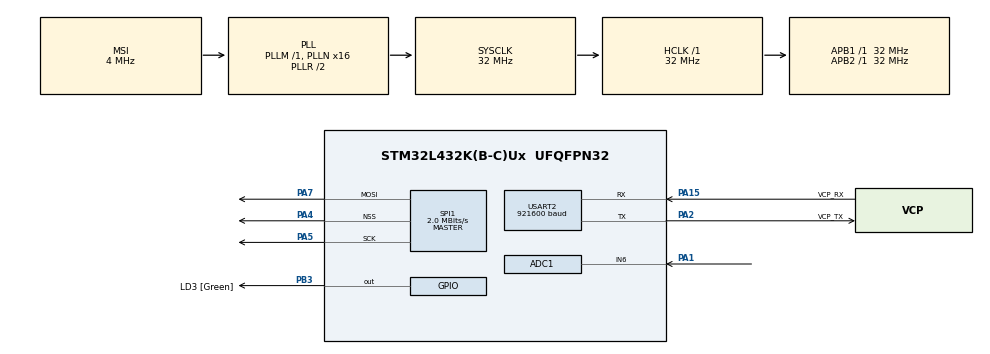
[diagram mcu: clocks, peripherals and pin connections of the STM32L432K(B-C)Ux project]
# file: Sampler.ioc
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ADC1.Channel-0\#ChannelRegularConversion=ADC_CHANNEL_6
ADC1.ClockPrescaler=ADC_CLOCK_ASYNC_DIV8
ADC1.DMAContinuousRequests=ENABLE
ADC1.ExternalTrigConv=ADC_EXTERNALTRIG_T1_TRGO
ADC1.NbrOfConversionFlag=1
ADC1.master=1
Dma.ADC1.1.Direction=DMA_PERIPH_TO_MEMORY
Dma.ADC1.1.Instance=DMA1_Channel1
Dma.ADC1.1.MemDataAlignment=DMA_MDATAALIGN_HALFWORD
Dma.ADC1.1.MemInc=DMA_MINC_ENABLE
Dma.ADC1.1.Mode=DMA_CIRCULAR
Dma.ADC1.1.PeriphDataAlignment=DMA_PDATAALIGN_HALFWORD
Dma.ADC1.1.PeriphInc=DMA_PINC_DISABLE
Dma.ADC1.1.Priority=DMA_PRIORITY_LOW
Dma.Request0=SPI1_TX
Dma.Request1=ADC1
Dma.SPI1_TX.0.Direction=DMA_MEMORY_TO_PERIPH
Dma.SPI1_TX.0.Instance=DMA2_Channel4
Dma.SPI1_TX.0.MemDataAlignment=DMA_MDATAALIGN_HALFWORD
Dma.SPI1_TX.0.MemInc=DMA_MINC_ENABLE
Dma.SPI1_TX.0.Mode=DMA_CIRCULAR
Dma.SPI1_TX.0.PeriphDataAlignment=DMA_PDATAALIGN_HALFWORD
Dma.SPI1_TX.0.PeriphInc=DMA_PINC_DISABLE
Dma.SPI1_TX.0.Priority=DMA_PRIORITY_LOW
Mcu.Family=STM32L4
Mcu.Name=STM32L432K(B-C)Ux
Mcu.Package=UFQFPN32
NVIC.ADC1_IRQn=true\:0\:0\:false\:false\:true\:true\:true\:true
NVIC.DMA1_Channel1_IRQn=true\:0\:0\:false\:false\:true\:false\:true\:true
NVIC.DMA2_Channel4_IRQn=true\:0\:0\:false\:false\:true\:false\:true\:true
NVIC.PriorityGroup=NVIC_PRIORITYGROUP_4
NVIC.SPI1_IRQn=true\:0\:0\:false\:false\:true\:true\:true\:true
NVIC.TIM1_BRK_TIM15_IRQn=true\:0\:0\:false\:false\:true\:true\:true\:true
NVIC.TIM1_CC_IRQn=true\:0\:0\:false\:false\:true\:true\:true\:true
NVIC.TIM1_TRG_COM_IRQn=true\:0\:0\:false\:false\:true\:true\:true\:true
NVIC.TIM1_UP_TIM16_IRQn=true\:0\:0\:false\:false\:true\:true\:true\:true
NVIC.USART2_IRQn=true\:0\:0\:false\:false\:true\:true\:true\:true
PA0.GPIO_Label=MCO [High speed clock in]
PA0.Mode=HSE-External-Clock-Source-for-LittleOrca
PA0.Signal=RCC_CK_IN
PA1.Signal=ADCx_IN6
PA13\ (JTMS-SWDIO).GPIO_Label=SWDIO
PA13\ (JTMS-SWDIO).Mode=Serial_Wire
PA13\ (JTMS-SWDIO).Signal=SYS_JTMS-SWDIO
PA14\ (JTCK-SWCLK).GPIO_Label=SWCLK
PA14\ (JTCK-SWCLK).Mode=Serial_Wire
PA14\ (JTCK-SWCLK).Signal=SYS_JTCK-SWCLK
PA15\ (JTDI).GPIO_Label=VCP_RX
PA15\ (JTDI).Mode=Asynchronous
PA15\ (JTDI).Signal=USART2_RX
PA2.GPIO_Label=VCP_TX
PA2.Mode=Asynchronous
PA2.Signal=USART2_TX
PA4.Mode=NSS_Signal_Hard_Output
PA4.Signal=SPI1_NSS
PA5.Mode=TX_Only_Simplex_Unidirect_Master
PA5.Signal=SPI1_SCK
PA7.Mode=TX_Only_Simplex_Unidirect_Master
PA7.Signal=SPI1_MOSI
PB3\ (JTDO-TRACESWO).GPIO_Label=LD3 [Green]
PB3\ (JTDO-TRACESWO).Signal=GPIO_Output
PC14-OSC32_IN\ (PC14).Mode=LSE-External-Oscillator
PC14-OSC32_IN\ (PC14).Signal=RCC_OSC32_IN
PC15-OSC32_OUT\ (PC15).Mode=LSE-External-Oscillator
PC15-OSC32_OUT\ (PC15).Signal=RCC_OSC32_OUT
ProjectManager.HeapSize=0x200
ProjectManager.StackSize=0x400
ProjectManager.TargetToolchain=STM32CubeIDE
RCC.ADCFreq_Value=32000000
RCC.AHBFreq_Value=32000000
RCC.APB1Freq_Value=32000000
RCC.APB1TimFreq_Value=32000000
RCC.APB2Freq_Value=32000000
RCC.APB2TimFreq_Value=32000000
RCC.CortexFreq_Value=32000000
RCC.HCLKFreq_Value=32000000
RCC.HSE_VALUE=8000000
RCC.HSI16_VALUE=16000000
RCC.HSI48_VALUE=48000000
RCC.HSI_VALUE=16000000
RCC.MSI_VALUE=4000000
RCC.PLLMUL=RCC_PLLMUL_4
RCC.PLLN=16
RCC.PLLSAI1N=16
RCC.SYSCLKFreq_VALUE=32000000
RCC.SYSCLKSource=RCC_SYSCLKSOURCE_PLLCLK
RCC.USBFreq_Value=32000000
RCC.VCOOutputFreq_Value=64000000
SH.ADCx_IN6.0=ADC1_IN6,IN6-Single-Ended
SPI1.BaudRatePrescaler=SPI_BAUDRATEPRESCALER_16
SPI1.CRCCalculation=SPI_CRCCALCULATION_DISABLE
SPI1.CalculateBaudRate=2.0 MBits/s
SPI1.DataSize=SPI_DATASIZE_16BIT
SPI1.Direction=SPI_DIRECTION_2LINES
SPI1.Mode=SPI_MODE_MASTER
SPI1.VirtualNSS=VM_NSSHARD
SPI1.VirtualType=VM_MASTER
TIM1.Period=24
TIM1.Prescaler=28
TIM1.TIM_MasterOutputTrigger=TIM_TRGO_UPDATE
TIM1.TIM_MasterOutputTrigger2=TIM_TRGO2_UPDATE
USART2.BaudRate=921600
USART2.VirtualMode-Asynchronous=VM_ASYNC
VP_TIM1_VS_ClockSourceINT.Mode=Internal
board=NUCLEO-L432KC

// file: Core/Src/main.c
/* USER CODE BEGIN Header */
/**
  ******************************************************************************
  * @file           : main.c
  * @brief          : Main program body
  ******************************************************************************
  * @attention
  *
  * Copyright (c) 2025 STMicroelectronics.
  * All rights reserved.
  *
  * This software is licensed under terms that can be found in the LICENSE file
  * in the root directory of this software component.
  * If no LICENSE file comes with this software, it is provided AS-IS.
  *
  ******************************************************************************
  */
/* USER CODE END Header */
#include "main.h"

/* USER CODE BEGIN Includes */
#include <stdio.h>
#include <string.h>

/* USER CODE END Includes */

ADC_HandleTypeDef hadc1;
DMA_HandleTypeDef hdma_adc1;

SPI_HandleTypeDef hspi1;
DMA_HandleTypeDef hdma_spi1_tx;

TIM_HandleTypeDef htim1;

UART_HandleTypeDef huart2;

/* USER CODE BEGIN PV */
#define BUFFER_SIZE 256
#define START_HEADER 0xFFFF
#define IN_RANGE_HEADER 0x0000
#define END_HEADER 0x0001
volatile uint8_t isReady = 0;
volatile uint8_t isTransmit = 1;
volatile uint8_t phase = 0;
uint16_t adc_buffer[BUFFER_SIZE - 6];
uint16_t spi_tx_buffer0[BUFFER_SIZE / 2];
uint16_t spi_tx_buffer1[BUFFER_SIZE / 2];
uint16_t counter = 0;
char uart_msg[64];

/* USER CODE END PV */

void SystemClock_Config(void);
static void MX_GPIO_Init(void);
static void MX_DMA_Init(void);
static void MX_USART2_UART_Init(void);
static void MX_ADC1_Init(void);
static void MX_TIM1_Init(void);
static void MX_SPI1_Init(void);

/* USER CODE BEGIN 0 */
void HAL_ADC_ConvHalfCpltCallback(ADC_HandleTypeDef* hadc)
{
    if (hadc->Instance == ADC1)
    {

        phase = 0;
        spi_tx_buffer0[0] = START_HEADER;
        spi_tx_buffer0[1] = IN_RANGE_HEADER;
        for (int i = 0; i < BUFFER_SIZE / 2 - 3; ++i)
        {
        	spi_tx_buffer0[i + 2] = adc_buffer[i];
        }
        spi_tx_buffer0[BUFFER_SIZE / 2 - 1] = END_HEADER;
        isReady = 1;

    }
}

void HAL_ADC_ConvCpltCallback(ADC_HandleTypeDef* hadc)
{
    if (hadc->Instance == ADC1)
    {
        phase = 1;
        spi_tx_buffer1[0] = START_HEADER;
        spi_tx_buffer1[1] = IN_RANGE_HEADER;
        for (int i = 0; i < BUFFER_SIZE / 2 - 3; ++i)
        {
        	spi_tx_buffer1[i + 2] = adc_buffer[i + BUFFER_SIZE / 2];
        }
        spi_tx_buffer1[BUFFER_SIZE / 2 - 1] = END_HEADER;
        isReady = 1;
    }
}

void HAL_SPI_TxCpltCallback(SPI_HandleTypeDef *hspi)
{
    if (hspi->Instance == SPI1)
    {

    	isTransmit = 1;
    }
}

/* USER CODE END 0 */

int main(void)
{

  /* MCU Configuration--------------------------------------------------------*/

  /* Reset of all peripherals, Initializes the Flash interface and the Systick. */
  HAL_Init();

  /* Configure the system clock */
  SystemClock_Config();

  /* Initialize all configured peripherals */
  MX_GPIO_Init();
  MX_DMA_Init();
  MX_USART2_UART_Init();
  MX_ADC1_Init();
  MX_TIM1_Init();
  MX_SPI1_Init();
  /* USER CODE BEGIN 2 */
  HAL_ADC_Start_DMA(&hadc1, (uint32_t*)adc_buffer, BUFFER_SIZE);
  HAL_TIM_Base_Start_IT(&htim1);
  /* USER CODE END 2 */

  /* Infinite loop */
  /* USER CODE BEGIN WHILE */
  while (1)
  {
	  if (isReady && isTransmit) {
	  		isReady = 0;
	  		if (phase == 0) {
	  			HAL_SPI_Transmit_DMA(&hspi1, (uint8_t*)spi_tx_buffer0, BUFFER_SIZE);
	  			isTransmit = 0;
		  	    uint16_t first_adc_value = spi_tx_buffer0[0];
		  	    sprintf(uart_msg, "ADC Value A0: %u\r\n", first_adc_value);
		  	    HAL_UART_Transmit(&huart2, (uint8_t*)uart_msg, strlen(uart_msg), HAL_MAX_DELAY);
		  	    first_adc_value = spi_tx_buffer0[1];
		  	    sprintf(uart_msg, "ADC Value A1: %u\r\n", first_adc_value);
		  	  	HAL_UART_Transmit(&huart2, (uint8_t*)uart_msg, strlen(uart_msg), HAL_MAX_DELAY);
		  	  	first_adc_value = spi_tx_buffer0[2];
		  	    sprintf(uart_msg, "ADC Value A2: %u\r\n", first_adc_value);
		  	  	HAL_UART_Transmit(&huart2, (uint8_t*)uart_msg, strlen(uart_msg), HAL_MAX_DELAY);
		  	  	first_adc_value = spi_tx_buffer0[(BUFFER_SIZE) / 2 - 1];
		  	    sprintf(uart_msg, "ADC Value AL: %u\r\n", first_adc_value);
		  	  	HAL_UART_Transmit(&huart2, (uint8_t*)uart_msg, strlen(uart_msg), HAL_MAX_DELAY);
	  		} else {
	  			HAL_SPI_Transmit_DMA(&hspi1, (uint8_t*)spi_tx_buffer1, BUFFER_SIZE);
	  			isTransmit = 0;
				uint16_t first_adc_value = spi_tx_buffer1[0];
				sprintf(uart_msg, "ADC Value B0: %u\r\n", first_adc_value);
				HAL_UART_Transmit(&huart2, (uint8_t*)uart_msg, strlen(uart_msg), HAL_MAX_DELAY);
				first_adc_value = spi_tx_buffer1[1];
				sprintf(uart_msg, "ADC Value B1: %u\r\n", first_adc_value);
				HAL_UART_Transmit(&huart2, (uint8_t*)uart_msg, strlen(uart_msg), HAL_MAX_DELAY);
				first_adc_value = spi_tx_buffer1[2];
				sprintf(uart_msg, "ADC Value B2: %u\r\n", first_adc_value);
				HAL_UART_Transmit(&huart2, (uint8_t*)uart_msg, strlen(uart_msg), HAL_MAX_DELAY);
				first_adc_value = spi_tx_buffer0[(BUFFER_SIZE) / 2 - 1];
				sprintf(uart_msg, "ADC Value BL: %u\r\n", first_adc_value);
				HAL_UART_Transmit(&huart2, (uint8_t*)uart_msg, strlen(uart_msg), HAL_MAX_DELAY);
	  		}

	  }
    /* USER CODE END WHILE */

  }
}

void SystemClock_Config(void)
{
  RCC_OscInitTypeDef RCC_OscInitStruct = {0};
  RCC_ClkInitTypeDef RCC_ClkInitStruct = {0};

  /** Configure the main internal regulator output voltage
  */
  if (HAL_PWREx_ControlVoltageScaling(PWR_REGULATOR_VOLTAGE_SCALE1) != HAL_OK)
  {
    Error_Handler();
  }

  /** Configure LSE Drive Capability
  */
  HAL_PWR_EnableBkUpAccess();
  __HAL_RCC_LSEDRIVE_CONFIG(RCC_LSEDRIVE_LOW);

  /** Initializes the RCC Oscillators according to the specified parameters
  * in the RCC_OscInitTypeDef structure.
  */
  RCC_OscInitStruct.OscillatorType = RCC_OSCILLATORTYPE_LSE|RCC_OSCILLATORTYPE_MSI;
  RCC_OscInitStruct.LSEState = RCC_LSE_ON;
  RCC_OscInitStruct.MSIState = RCC_MSI_ON;
  RCC_OscInitStruct.MSICalibrationValue = 0;
  RCC_OscInitStruct.MSIClockRange = RCC_MSIRANGE_6;
  RCC_OscInitStruct.PLL.PLLState = RCC_PLL_ON;
  RCC_OscInitStruct.PLL.PLLSource = RCC_PLLSOURCE_MSI;
  RCC_OscInitStruct.PLL.PLLM = 1;
  RCC_OscInitStruct.PLL.PLLN = 16;
  RCC_OscInitStruct.PLL.PLLP = RCC_PLLP_DIV7;
  RCC_OscInitStruct.PLL.PLLQ = RCC_PLLQ_DIV2;
  RCC_OscInitStruct.PLL.PLLR = RCC_PLLR_DIV2;
  if (HAL_RCC_OscConfig(&RCC_OscInitStruct) != HAL_OK)
  {
    Error_Handler();
  }

  /** Initializes the CPU, AHB and APB buses clocks
  */
  RCC_ClkInitStruct.ClockType = RCC_CLOCKTYPE_HCLK|RCC_CLOCKTYPE_SYSCLK
                              |RCC_CLOCKTYPE_PCLK1|RCC_CLOCKTYPE_PCLK2;
  RCC_ClkInitStruct.SYSCLKSource = RCC_SYSCLKSOURCE_PLLCLK;
  RCC_ClkInitStruct.AHBCLKDivider = RCC_SYSCLK_DIV1;
  RCC_ClkInitStruct.APB1CLKDivider = RCC_HCLK_DIV1;
  RCC_ClkInitStruct.APB2CLKDivider = RCC_HCLK_DIV1;

  if (HAL_RCC_ClockConfig(&RCC_ClkInitStruct, FLASH_LATENCY_1) != HAL_OK)
  {
    Error_Handler();
  }

  /** Enable MSI Auto calibration
  */
  HAL_RCCEx_EnableMSIPLLMode();
}

static void MX_ADC1_Init(void)
{

  ADC_ChannelConfTypeDef sConfig = {0};

  /** Common config
  */
  hadc1.Instance = ADC1;
  hadc1.Init.ClockPrescaler = ADC_CLOCK_ASYNC_DIV8;
  hadc1.Init.Resolution = ADC_RESOLUTION_12B;
  hadc1.Init.DataAlign = ADC_DATAALIGN_RIGHT;
  hadc1.Init.ScanConvMode = ADC_SCAN_DISABLE;
  hadc1.Init.EOCSelection = ADC_EOC_SINGLE_CONV;
  hadc1.Init.LowPowerAutoWait = DISABLE;
  hadc1.Init.ContinuousConvMode = DISABLE;
  hadc1.Init.NbrOfConversion = 1;
  hadc1.Init.DiscontinuousConvMode = DISABLE;
  hadc1.Init.ExternalTrigConv = ADC_EXTERNALTRIG_T1_TRGO;
  hadc1.Init.ExternalTrigConvEdge = ADC_EXTERNALTRIGCONVEDGE_RISING;
  hadc1.Init.DMAContinuousRequests = ENABLE;
  hadc1.Init.Overrun = ADC_OVR_DATA_PRESERVED;
  hadc1.Init.OversamplingMode = DISABLE;
  if (HAL_ADC_Init(&hadc1) != HAL_OK)
  {
    Error_Handler();
  }

  /** Configure Regular Channel
  */
  sConfig.Channel = ADC_CHANNEL_6;
  sConfig.Rank = ADC_REGULAR_RANK_1;
  sConfig.SamplingTime = ADC_SAMPLETIME_2CYCLES_5;
  sConfig.SingleDiff = ADC_SINGLE_ENDED;
  sConfig.OffsetNumber = ADC_OFFSET_NONE;
  sConfig.Offset = 0;
  if (HAL_ADC_ConfigChannel(&hadc1, &sConfig) != HAL_OK)
  {
    Error_Handler();
  }

}

static void MX_SPI1_Init(void)
{

  /* SPI1 parameter configuration*/
  hspi1.Instance = SPI1;
  hspi1.Init.Mode = SPI_MODE_MASTER;
  hspi1.Init.Direction = SPI_DIRECTION_2LINES;
  hspi1.Init.DataSize = SPI_DATASIZE_16BIT;
  hspi1.Init.CLKPolarity = SPI_POLARITY_LOW;
  hspi1.Init.CLKPhase = SPI_PHASE_1EDGE;
  hspi1.Init.NSS = SPI_NSS_HARD_OUTPUT;
  hspi1.Init.BaudRatePrescaler = SPI_BAUDRATEPRESCALER_16;
  hspi1.Init.FirstBit = SPI_FIRSTBIT_MSB;
  hspi1.Init.TIMode = SPI_TIMODE_DISABLE;
  hspi1.Init.CRCCalculation = SPI_CRCCALCULATION_DISABLE;
  hspi1.Init.CRCPolynomial = 7;
  hspi1.Init.CRCLength = SPI_CRC_LENGTH_DATASIZE;
  hspi1.Init.NSSPMode = SPI_NSS_PULSE_ENABLE;
  if (HAL_SPI_Init(&hspi1) != HAL_OK)
  {
    Error_Handler();
  }

}

static void MX_TIM1_Init(void)
{

  TIM_ClockConfigTypeDef sClockSourceConfig = {0};
  TIM_MasterConfigTypeDef sMasterConfig = {0};

  htim1.Instance = TIM1;
  htim1.Init.Prescaler = 28;
  htim1.Init.CounterMode = TIM_COUNTERMODE_UP;
  htim1.Init.Period = 24;
  htim1.Init.ClockDivision = TIM_CLOCKDIVISION_DIV1;
  htim1.Init.RepetitionCounter = 0;
  htim1.Init.AutoReloadPreload = TIM_AUTORELOAD_PRELOAD_DISABLE;
  if (HAL_TIM_Base_Init(&htim1) != HAL_OK)
  {
    Error_Handler();
  }
  sClockSourceConfig.ClockSource = TIM_CLOCKSOURCE_INTERNAL;
  if (HAL_TIM_ConfigClockSource(&htim1, &sClockSourceConfig) != HAL_OK)
  {
    Error_Handler();
  }
  sMasterConfig.MasterOutputTrigger = TIM_TRGO_UPDATE;
  sMasterConfig.MasterOutputTrigger2 = TIM_TRGO2_UPDATE;
  sMasterConfig.MasterSlaveMode = TIM_MASTERSLAVEMODE_DISABLE;
  if (HAL_TIMEx_MasterConfigSynchronization(&htim1, &sMasterConfig) != HAL_OK)
  {
    Error_Handler();
  }

}

static void MX_USART2_UART_Init(void)
{

  huart2.Instance = USART2;
  huart2.Init.BaudRate = 921600;
  huart2.Init.WordLength = UART_WORDLENGTH_8B;
  huart2.Init.StopBits = UART_STOPBITS_1;
  huart2.Init.Parity = UART_PARITY_NONE;
  huart2.Init.Mode = UART_MODE_TX_RX;
  huart2.Init.HwFlowCtl = UART_HWCONTROL_NONE;
  huart2.Init.OverSampling = UART_OVERSAMPLING_16;
  huart2.Init.OneBitSampling = UART_ONE_BIT_SAMPLE_DISABLE;
  huart2.AdvancedInit.AdvFeatureInit = UART_ADVFEATURE_NO_INIT;
  if (HAL_UART_Init(&huart2) != HAL_OK)
  {
    Error_Handler();
  }

}

static void MX_DMA_Init(void)
{

  /* DMA controller clock enable */
  __HAL_RCC_DMA2_CLK_ENABLE();
  __HAL_RCC_DMA1_CLK_ENABLE();

  /* DMA interrupt init */
  /* DMA1_Channel1_IRQn interrupt configuration */
  HAL_NVIC_SetPriority(DMA1_Channel1_IRQn, 0, 0);
  HAL_NVIC_EnableIRQ(DMA1_Channel1_IRQn);
  /* DMA2_Channel4_IRQn interrupt configuration */
  HAL_NVIC_SetPriority(DMA2_Channel4_IRQn, 0, 0);
  HAL_NVIC_EnableIRQ(DMA2_Channel4_IRQn);

}

static void MX_GPIO_Init(void)
{
  GPIO_InitTypeDef GPIO_InitStruct = {0};

  /* GPIO Ports Clock Enable */
  __HAL_RCC_GPIOC_CLK_ENABLE();
  __HAL_RCC_GPIOA_CLK_ENABLE();
  __HAL_RCC_GPIOB_CLK_ENABLE();

  /*Configure GPIO pin Output Level */
  HAL_GPIO_WritePin(LD3_GPIO_Port, LD3_Pin, GPIO_PIN_RESET);

  /*Configure GPIO pin : LD3_Pin */
  GPIO_InitStruct.Pin = LD3_Pin;
  GPIO_InitStruct.Mode = GPIO_MODE_OUTPUT_PP;
  GPIO_InitStruct.Pull = GPIO_NOPULL;
  GPIO_InitStruct.Speed = GPIO_SPEED_FREQ_LOW;
  HAL_GPIO_Init(LD3_GPIO_Port, &GPIO_InitStruct);

}

void Error_Handler(void)
{
  __disable_irq();
  while (1)
  {
  }
}
